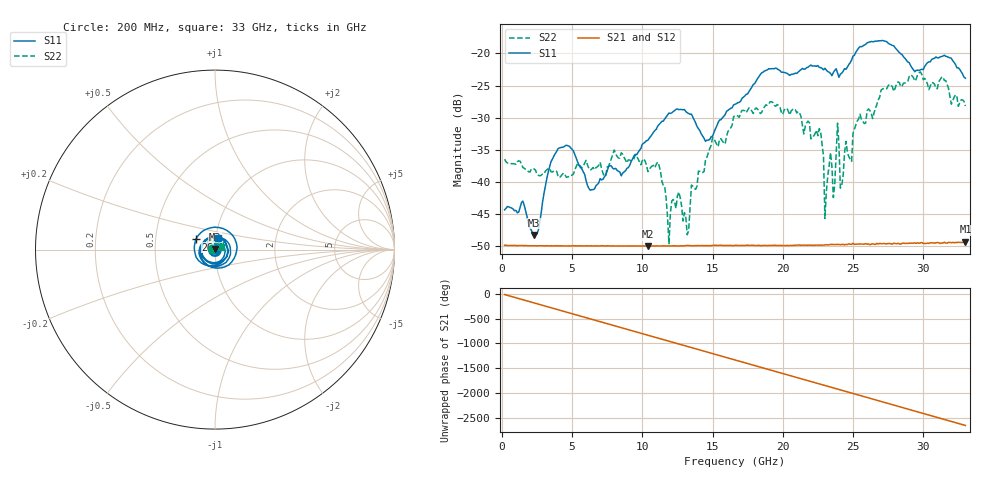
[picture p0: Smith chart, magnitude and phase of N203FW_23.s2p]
# GHZ S RI R 50
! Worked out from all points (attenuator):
!   329 points, 200 MHz to 33 GHz, reference 50 ohm
!   highest |S21| = -49.41 dB at 33 GHz (marker M1); lowest = -50.1 dB at 10.4 GHz (marker M2)
!   lowest |S11| = -48.3 dB at 2.3 GHz (marker M3), VSWR 1.01, Z = 50.1 + j0.356 ohm
!   |S11| at or under -10 dB: start of sweep to end of sweep
!   |S22| runs from -49.7 to -22.9 dB; largest |S21 - S12| = 8.8e-05
!   S11 on the Smith chart (normalised r, x): 200 MHz: 1.01, +0.00; 26 GHz: 0.80, +0.09; 33 GHz: 1.03, +0.13
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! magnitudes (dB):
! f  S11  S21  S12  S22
! 200 MHz  -44.4  -50.0  -49.9  -36.5
! 2.3 GHz  -48.3  -50.0  -50.0  -38.0
! 4 GHz  -34.9  -50.0  -50.0  -39.1
! 5.7 GHz  -38.0  -50.0  -50.0  -37.8
! 10.4 GHz  -33.6  -50.1  -50.1  -38.4
! 11.2 GHz  -31.1  -50.1  -50.0  -37.5
! 11.9 GHz  -29.3  -50.0  -50.0  -49.7
! 12.6 GHz  -28.8  -50.1  -50.0  -41.6
! 13.2 GHz  -29.2  -50.0  -50.0  -48.3
! 13.5 GHz  -29.5  -50.0  -50.0  -40.6
! 16.6 GHz  -27.9  -50.0  -50.0  -29.7
! 22.1 GHz  -22.0  -49.9  -49.9  -33.2
! 22.7 GHz  -22.2  -49.9  -49.9  -32.3
! 22.9 GHz  -22.6  -49.9  -49.9  -36.1
! 23 GHz  -22.3  -49.9  -49.9  -45.8
! 23.4 GHz  -23.1  -49.8  -49.8  -35.5
! 23.6 GHz  -23.0  -49.8  -49.8  -42.5
! 23.9 GHz  -23.0  -49.8  -49.8  -30.9
! 24.1 GHz  -23.2  -49.9  -49.8  -41.0
! 26 GHz  -18.3  -49.8  -49.7  -28.9
! 27.6 GHz  -18.5  -49.7  -49.7  -24.8
! 33 GHz  -23.9  -49.4  -49.5  -28.2
